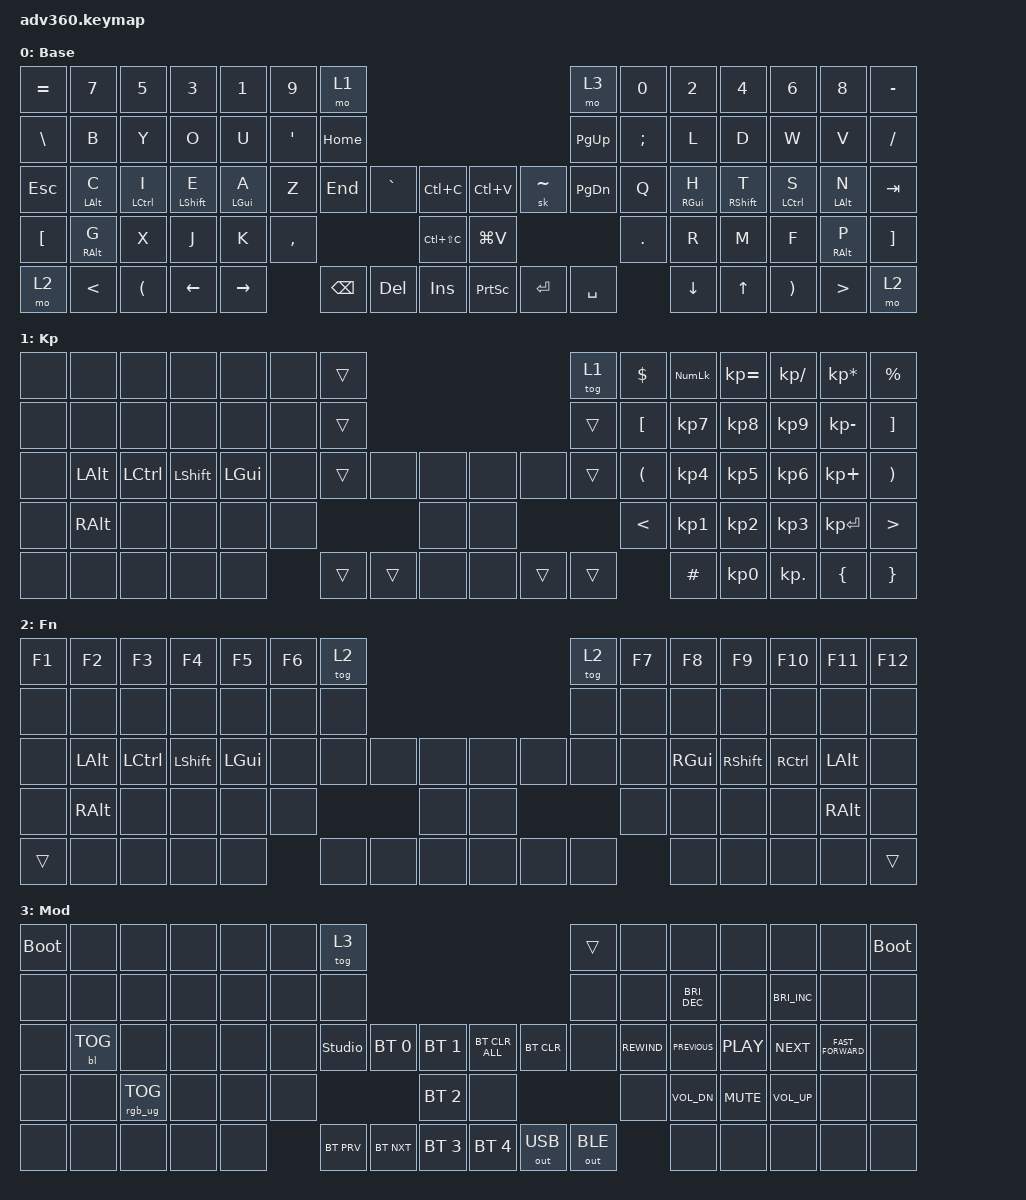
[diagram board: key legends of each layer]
#include <dt-bindings/zmk/stp.h>
#include <behaviors.dtsi>
#include <dt-bindings/zmk/backlight.h>
#include <dt-bindings/zmk/bt.h>
#include <dt-bindings/zmk/keys.h>
#include <dt-bindings/zmk/outputs.h>
#include <dt-bindings/zmk/rgb.h>

/ {
    behaviors {
        #include "macros.dtsi"
      #include "version.dtsi"

        hm: homerow_mods {
            compatible = "zmk,behavior-hold-tap";
            label = "HOMEROW_MODS";
            #binding-cells = <2>;
            tapping-term-ms = <200>;
            quick_tap_ms = <175>;
            flavor = "tap-preferred";
            bindings = <&kp>, <&kp>;
        };

        bt_hold: bt_hold {
            compatible = "zmk,behavior-hold-tap";
            label = "BT_HOLD";
            bindings = <&bt>, <&none>;

            #binding-cells = <2>;
            tapping-term-ms = <100>;
            flavor = "balanced";
        };
    };

    keymap {
        compatible = "zmk,keymap";

        default_layer {
            display-name = "Base";
            bindings = <
&kp EQUAL   &kp N7           &kp N5                &kp N3            &kp N1          &kp N9     &mo 1                                                               &mo 3      &kp N0    &kp N2           &kp N4             &kp N6                 &kp N8            &kp MINUS
&kp BSLH    &kp B            &kp Y                 &kp O             &kp U           &kp SQT    &kp HOME                                                            &kp PG_UP  &kp SEMI  &kp L            &kp D              &kp W                  &kp V             &kp FSLH
&kp ESCAPE  &hm LEFT_ALT C   &hm LCTRL I           &hm LEFT_SHIFT E  &hm LEFT_GUI A  &kp Z      &kp END   &kp GRAVE  &kp LC(C)          &kp LC(V)        &sk TILDE  &kp PG_DN  &kp Q     &hm RIGHT_GUI H  &hm RIGHT_SHIFT T  &hm LCTRL S            &hm LEFT_ALT N    &kp TAB
&kp LBKT    &hm RIGHT_ALT G  &kp X                 &kp J             &kp K           &kp COMMA                       &kp LC(LS(C))      &kp LG(V)                              &kp DOT   &kp R            &kp M              &kp F                  &hm RIGHT_ALT P   &kp RBKT
&mo 2       &kp LESS_THAN    &kp LEFT_PARENTHESIS  &kp LEFT          &kp RIGHT                  &kp BSPC  &kp DEL    &kp INS            &kp PRINTSCREEN  &kp ENTER  &kp SPACE            &kp DOWN         &kp UP_ARROW       &kp RIGHT_PARENTHESIS  &kp GREATER_THAN  &mo 2
            >;
        };

        keypad {
            display-name = "Kp";
            bindings = <
&none  &none         &none      &none      &none         &none  &trans                                    &tog 1  &kp DLLR  &kp KP_NUM  &kp KP_EQUAL     &kp KP_DIVIDE  &kp KP_MULTIPLY  &kp PRCNT
&none  &none         &none      &none      &none         &none  &trans                                    &trans  &kp LBKT  &kp KP_N7   &kp KP_N8        &kp KP_N9      &kp KP_MINUS     &kp RBKT
&none  &kp LEFT_ALT  &kp LCTRL  &kp LSHFT  &kp LEFT_GUI  &none  &trans  &none   &none      &none  &none   &trans  &kp LPAR  &kp KP_N4   &kp KP_N5        &kp KP_N6      &kp KP_PLUS      &kp RPAR
&none  &kp RALT      &none      &none      &none         &none                  &none      &none                  &kp LT    &kp KP_N1   &kp KP_N2        &kp KP_N3      &kp KP_ENTER     &kp GT
&none  &none         &none      &none      &none                &trans  &trans  &none      &none  &trans  &trans            &kp HASH    &kp KP_NUMBER_0  &kp KP_DOT     &kp LEFT_BRACE   &kp RBRC
            >;
        };

        fn {
            display-name = "Fn";
            bindings = <
&kp F1  &kp F2    &kp F3     &kp F4          &kp F5        &kp F6  &tog 2                                  &tog 2  &kp F7  &kp F8         &kp F9           &kp F10    &kp F11   &kp F12
&none   &none     &none      &none           &none         &none   &none                                   &none   &none   &none          &none            &none      &none     &none
&none   &kp LALT  &kp LCTRL  &kp LEFT_SHIFT  &kp LEFT_GUI  &none   &none   &none  &none      &none  &none  &none   &none   &kp RIGHT_GUI  &kp RIGHT_SHIFT  &kp RCTRL  &kp LALT  &none
&none   &kp RALT  &none      &none           &none         &none                  &none      &none                 &none   &none          &none            &none      &kp RALT  &none
&trans  &none     &none      &none           &none                 &none   &none  &none      &none  &none  &none           &none          &none            &none      &none     &trans
            >;
        };

        mod {
            display-name = "Mod";
            bindings = <
&bootloader  &none       &none            &none  &none  &none  &tog 3                                                                        &trans        &none         &none                 &none       &none                 &none               &bootloader
&none        &none       &none            &none  &none  &none  &none                                                                         &none         &none         &kp C_BRIGHTNESS_DEC  &none       &kp C_BRIGHTNESS_INC  &none               &none
&none        &bl BL_TOG  &none            &none  &none  &none  &studio_unlock  &bt BT_SEL 0  &bt BT_SEL 1      &bt BT_CLR_ALL  &bt BT_CLR    &none         &kp C_REWIND  &kp C_PREVIOUS        &kp C_PLAY  &kp C_NEXT            &kp C_FAST_FORWARD  &none
&none        &none       &rgb_ug RGB_TOG  &none  &none  &none                                &bt BT_SEL 2      &none                                       &none         &kp C_VOL_DN          &kp K_MUTE  &kp C_VOLUME_UP       &none               &none
&none        &none       &none            &none  &none         &bt BT_PRV      &bt BT_NXT    &bt BT_SEL 3      &bt BT_SEL 4    &out OUT_USB  &out OUT_BLE                &none                 &none       &none                 &none               &none
            >;
        };
    };
};
